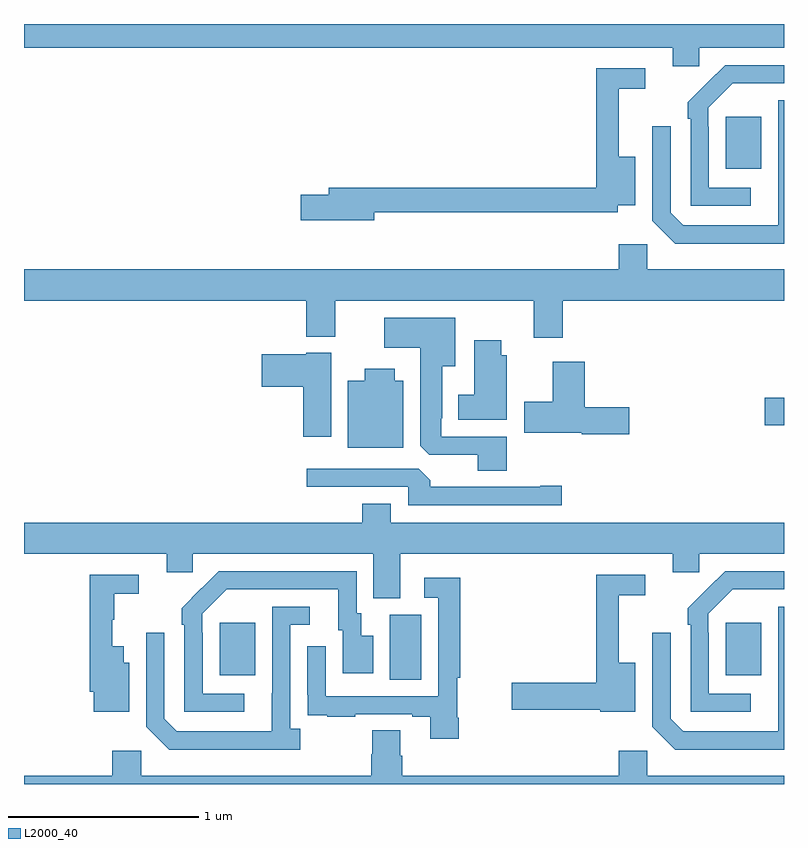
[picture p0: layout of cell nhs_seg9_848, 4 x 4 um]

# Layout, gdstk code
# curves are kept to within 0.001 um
import gdstk
lib = gdstk.Library(unit=1e-6, precision=1e-09)
def R(c, l, rs):  # rectangles x0, y0, x1, y1
    for r in rs: c.add(gdstk.rectangle(r[:2], r[2:], *l))
def P(c, l, *ps):  # polygons
    for p in ps: c.add(gdstk.Polygon(p, *l))
L2000_40 = (2000, 40)

nhs_seg9_848 = lib.new_cell('nhs_seg9_848')
R(nhs_seg9_848, L2000_40, [(156.926,1237.048,157.09,1237.392), (156.029,1237.073,156.217,1237.348), (158.693,1237.073,158.881,1237.348), (158.898,1238.387,159,1238.534), (158.693,1239.737,158.881,1240.012)])
P(nhs_seg9_848, L2000_40, [(158.553,1240.376),(159,1240.376),(159,1240.5),(155,1240.5),(155,1240.376),(158.414,1240.376),(158.414,1240.278),(158.553,1240.278)],
  [(158.824,1239.639),(158.604,1239.639),(158.604,1239.959),(158.601,1239.959),(158.601,1240.059),(158.73,1240.188),(159,1240.188),(159,1240.284),(158.69,1240.284),(158.493,1240.089),(158.493,1240.001),(158.508,1240.001),(158.508,1239.543),(158.824,1239.543)],
  [(156.844,1239.51),(158.124,1239.51),(158.124,1239.545),(158.218,1239.545),(158.218,1239.802),(158.129,1239.802),(158.129,1240.158),(158.269,1240.158),(158.269,1240.266),(158.011,1240.266),(158.011,1239.638),(156.605,1239.638),(156.605,1239.602),(156.456,1239.602),(156.456,1239.467),(156.844,1239.467)],
  [(159,1240.098),(158.97,1240.098),(158.97,1239.641),(158.969,1239.641),(158.969,1239.441),(158.469,1239.441),(158.403,1239.507),(158.403,1239.961),(158.307,1239.961),(158.307,1239.465),(158.428,1239.344),(159,1239.344)],
  [(157.835,1239.044),(159,1239.044),(159,1239.208),(158.28,1239.208),(158.28,1239.34),(158.129,1239.34),(158.129,1239.208),(155,1239.208),(155,1239.044),(156.485,1239.044),(156.485,1238.855),(156.637,1238.855),(156.637,1239.044),(157.682,1239.044),(157.682,1238.85),(157.835,1238.85)],
  [(157.541,1238.328),(157.197,1238.328),(157.197,1238.425),(157.201,1238.425),(157.201,1238.699),(157.27,1238.699),(157.27,1238.953),(156.897,1238.953),(156.897,1238.795),(157.085,1238.795),(157.085,1238.281),(157.134,1238.232),(157.388,1238.232),(157.388,1238.149),(157.541,1238.149)],
  [(157.54,1238.757),(157.513,1238.757),(157.513,1238.836),(157.37,1238.836),(157.37,1238.548),(157.286,1238.548),(157.286,1238.417),(157.54,1238.417)],
  [(156.616,1238.77),(156.486,1238.77),(156.486,1238.761),(156.252,1238.761),(156.252,1238.591),(156.47,1238.591),(156.47,1238.328),(156.616,1238.328)],
  [(158.185,1238.483),(157.952,1238.483),(157.952,1238.722),(157.784,1238.722),(157.784,1238.511),(157.632,1238.511),(157.632,1238.348),(157.935,1238.348),(157.935,1238.341),(158.185,1238.341)],
  [(156.997,1238.623),(156.952,1238.623),(156.952,1238.686),(156.794,1238.686),(156.794,1238.623),(156.704,1238.623),(156.704,1238.27),(156.997,1238.27)],
  [(157.831,1238.069),(157.718,1238.069),(157.718,1238.064),(157.139,1238.064),(157.139,1238.098),(157.077,1238.16),(156.489,1238.16),(156.489,1238.064),(157.023,1238.064),(157.023,1237.968),(157.831,1237.968)],
  [(156.979,1237.712),(158.414,1237.712),(158.414,1237.614),(158.553,1237.614),(158.553,1237.712),(159,1237.712),(159,1237.876),(156.931,1237.876),(156.931,1237.975),(156.779,1237.975),(156.779,1237.876),(155,1237.876),(155,1237.712),(155.75,1237.712),(155.75,1237.614),(155.889,1237.614),(155.889,1237.712),(156.839,1237.712),(156.839,1237.477),(156.979,1237.477)],
  [(156.16,1236.975),(155.94,1236.975),(155.94,1237.295),(155.937,1237.295),(155.937,1237.395),(156.066,1237.524),(156.653,1237.524),(156.653,1237.308),(156.677,1237.308),(156.677,1237.083),(156.838,1237.083),(156.838,1237.279),(156.775,1237.279),(156.775,1237.398),(156.75,1237.398),(156.75,1237.62),(156.026,1237.62),(155.829,1237.425),(155.829,1237.337),(155.844,1237.337),(155.844,1236.879),(156.16,1236.879)],
  [(158.824,1236.975),(158.604,1236.975),(158.604,1237.295),(158.601,1237.295),(158.601,1237.395),(158.73,1237.524),(159,1237.524),(159,1237.62),(158.69,1237.62),(158.493,1237.425),(158.493,1237.337),(158.508,1237.337),(158.508,1236.879),(158.824,1236.879)],
  [(155.554,1237.138),(155.524,1237.138),(155.524,1237.225),(155.465,1237.225),(155.465,1237.365),(155.476,1237.365),(155.476,1237.501),(155.605,1237.501),(155.605,1237.602),(155.347,1237.602),(155.347,1236.985),(155.366,1236.985),(155.366,1236.881),(155.554,1236.881)],
  [(158.218,1237.138),(158.129,1237.138),(158.129,1237.494),(158.269,1237.494),(158.269,1237.602),(158.011,1237.602),(158.011,1237.034),(157.566,1237.034),(157.566,1236.892),(158.034,1236.892),(158.034,1236.881),(158.218,1236.881)],
  [(157.289,1236.85),(157.28,1236.85),(157.28,1237.06),(157.295,1237.06),(157.295,1237.585),(157.107,1237.585),(157.107,1237.479),(157.179,1237.479),(157.179,1236.963),(156.588,1236.963),(156.588,1237.225),(156.492,1237.225),(156.492,1236.97),(156.493,1236.97),(156.493,1236.861),(156.595,1236.861),(156.595,1236.855),(156.743,1236.855),(156.743,1236.867),(157.043,1236.867),(157.043,1236.855),(157.139,1236.855),(157.139,1236.738),(157.289,1236.738)],
  [(156.454,1236.79),(156.402,1236.79),(156.402,1237.338),(156.505,1237.338),(156.505,1237.434),(156.306,1237.434),(156.305,1236.777),(155.805,1236.777),(155.739,1236.843),(155.739,1237.297),(155.643,1237.297),(155.643,1236.801),(155.764,1236.68),(156.454,1236.68)],
  [(159,1237.434),(158.97,1237.434),(158.97,1236.977),(158.969,1236.977),(158.969,1236.777),(158.469,1236.777),(158.403,1236.843),(158.403,1237.297),(158.307,1237.297),(158.307,1236.801),(158.428,1236.68),(159,1236.68)],
  [(159,1236.544),(158.28,1236.544),(158.28,1236.676),(158.129,1236.676),(158.129,1236.544),(156.992,1236.544),(156.992,1236.65),(156.979,1236.65),(156.979,1236.782),(156.832,1236.782),(156.832,1236.657),(156.827,1236.657),(156.827,1236.544),(155.616,1236.544),(155.616,1236.676),(155.465,1236.676),(155.465,1236.544),(155,1236.544),(155,1236.5),(159,1236.5)])

lib.write_gds('nhs_seg9_848.gds')
